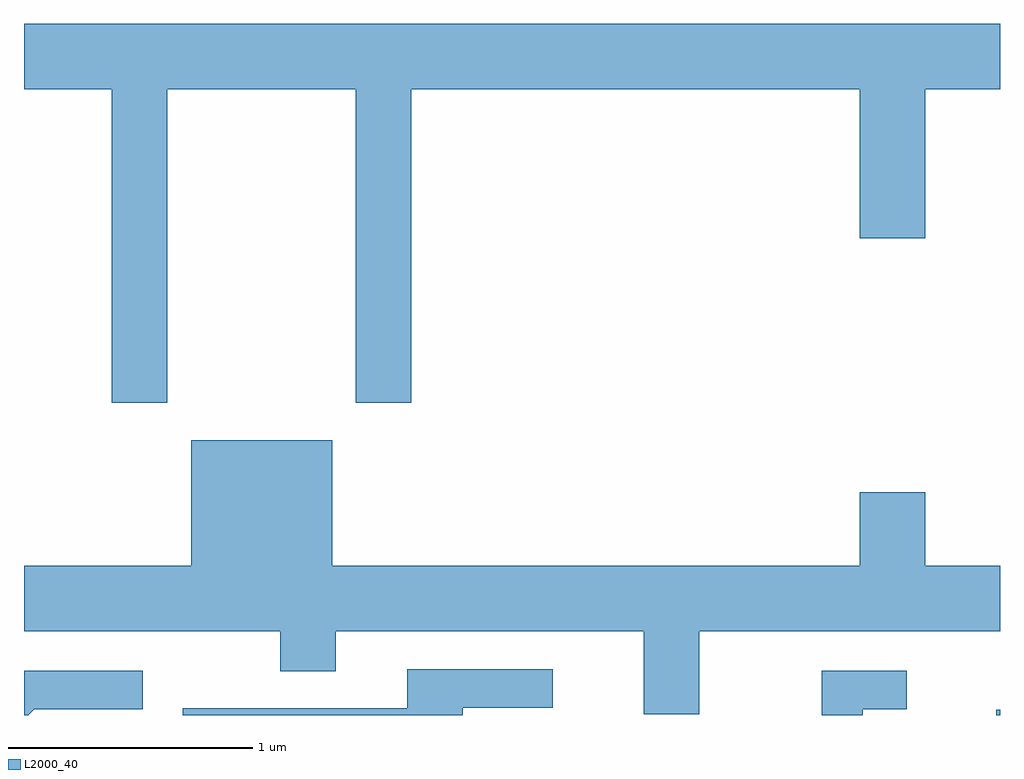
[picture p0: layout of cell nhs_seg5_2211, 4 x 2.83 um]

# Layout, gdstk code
import gdstk
lib = gdstk.Library(unit=1e-6, precision=1e-09)
def R(c, l, rs):  # rectangles x0, y0, x1, y1
    for r in rs: c.add(gdstk.rectangle(r[:2], r[2:], *l))
def P(c, l, *ps):  # polygons
    for p in ps: c.add(gdstk.Polygon(p, *l))
L2000_40 = (2000, 40)

nhs_seg5_2211 = lib.new_cell('nhs_seg5_2211')
R(nhs_seg5_2211, L2000_40, [(255.596,1392.072,255.611,1392.094)])
P(nhs_seg5_2211, L2000_40, [(252.199,1394.636),(252.971,1394.636),(252.971,1393.351),(253.199,1393.351),(253.199,1394.636),(255.036,1394.636),(255.036,1394.026),(255.304,1394.026),(255.304,1394.636),(255.611,1394.636),(255.611,1394.904),(251.611,1394.904),(251.611,1394.636),(251.971,1394.636),(251.971,1393.351),(252.199,1393.351)],
  [(252.296,1393.199),(252.296,1392.684),(251.611,1392.684),(251.611,1392.416),(252.661,1392.416),(252.661,1392.251),(252.889,1392.251),(252.889,1392.416),(254.151,1392.416),(254.151,1392.076),(254.379,1392.076),(254.379,1392.416),(255.611,1392.416),(255.611,1392.684),(255.304,1392.684),(255.304,1392.984),(255.036,1392.984),(255.036,1392.684),(252.874,1392.684),(252.874,1393.199)],
  [(253.409,1392.101),(253.778,1392.101),(253.778,1392.259),(253.181,1392.259),(253.181,1392.099),(252.261,1392.099),(252.261,1392.072),(253.409,1392.072)],
  [(255.049,1392.096),(255.228,1392.096),(255.228,1392.254),(254.881,1392.254),(254.881,1392.072),(255.049,1392.072)],
  [(251.652,1392.096),(252.098,1392.096),(252.098,1392.254),(251.611,1392.254),(251.611,1392.072),(251.628,1392.072)])

lib.write_gds('nhs_seg5_2211.gds')
